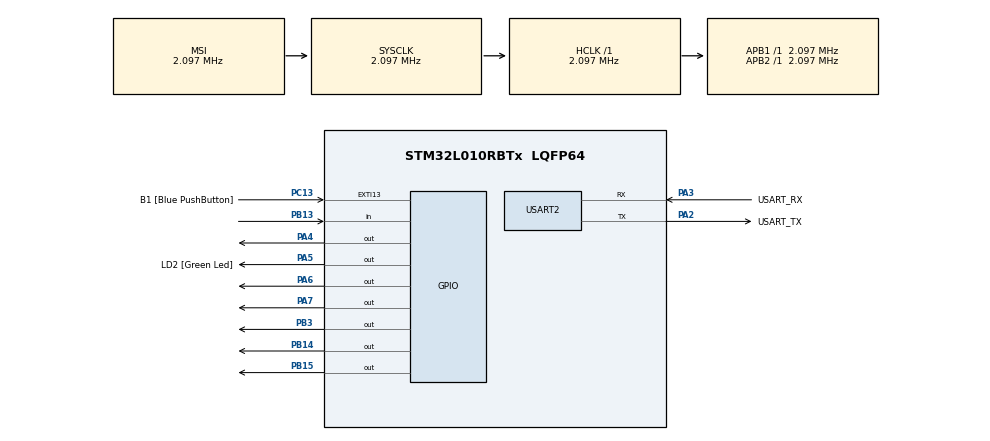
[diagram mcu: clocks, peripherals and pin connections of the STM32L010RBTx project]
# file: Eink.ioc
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Mcu.Family=STM32L0
RCC.MSI_VALUE=2097000
PC15-OSC32_OUT.Mode=LSE-External-Oscillator
PH0-OSC_IN.Signal=RCC_OSC_IN
PC13.Signal=GPXTI13
PA14.GPIO_Label=TCK
PC13.GPIO_Label=B1 [Blue PushButton]
PC14-OSC32_IN.Signal=RCC_OSC32_IN
PB13.Signal=GPIO_Input
PB15.Signal=GPIO_Output
PB3.GPIO_Speed=GPIO_SPEED_FREQ_MEDIUM
ProjectManager.StackSize=0x400
PA3.Mode=Asynchronous
PA13.Signal=SYS_SWDIO
RCC.HSI16_VALUE=16000000
ProjectManager.TargetToolchain=STM32CubeIDE
PB14.GPIO_Speed=GPIO_SPEED_FREQ_MEDIUM
RCC.APB2TimFreq_Value=2097000
PC15-OSC32_OUT.Signal=RCC_OSC32_OUT
RCC.AHBFreq_Value=2097000
PH0-OSC_IN.Mode=HSE-External-Clock-Source
PH0-OSC_IN.GPIO_Label=MCO
PB14.Signal=GPIO_Output
PA5.Signal=GPIO_Output
RCC.HSE_VALUE=8000000
board=NUCLEO-L010RB
USART2.VirtualMode-Asynchronous=VM_ASYNC
RCC.VCOOutputFreq_Value=48000000
PA4.GPIO_Speed=GPIO_SPEED_FREQ_MEDIUM
PA7.GPIO_Speed=GPIO_SPEED_FREQ_MEDIUM
PB13.GPIO_PuPd=GPIO_PULLUP
RCC.APB2Freq_Value=2097000
PC14-OSC32_IN.Mode=LSE-External-Oscillator
PA14.Mode=Serial_Wire
PB15.GPIO_Speed=GPIO_SPEED_FREQ_MEDIUM
PA13.Mode=Serial_Wire
Mcu.Name=STM32L010RBTx
PA2.Signal=USART2_TX
PA13.GPIO_Label=TMS
PB3.Signal=GPIO_Output
PA4.Signal=GPIO_Output
RCC.SYSCLKFreq_VALUE=2097000
Mcu.Package=LQFP64
PA6.Signal=GPIO_Output
PA5.GPIO_Label=LD2 [Green Led]
PC13.GPIO_ModeDefaultEXTI=GPIO_MODE_IT_FALLING
PA2.GPIO_Label=USART_TX
PA14.Signal=SYS_SWCLK
ProjectManager.HeapSize=0x200
RCC.HSI_VALUE=16000000
RCC.APB1TimFreq_Value=2097000
PA2.Mode=Asynchronous
PA6.GPIO_Speed=GPIO_SPEED_FREQ_MEDIUM
RCC.APB1Freq_Value=2097000
RCC.HSI48_VALUE=48000000
PA3.GPIO_Label=USART_RX
PA3.Signal=USART2_RX
PA7.Signal=GPIO_Output

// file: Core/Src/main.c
/* USER CODE BEGIN Header */
/**
  ******************************************************************************
  * @file           : main.c
  * @brief          : Main program body
  ******************************************************************************
  * @attention
  *
  * <h2><center>&copy; Copyright (c) 2021 STMicroelectronics.
  * All rights reserved.</center></h2>
  *
  * This software component is licensed by ST under BSD 3-Clause license,
  * the "License"; You may not use this file except in compliance with the
  * License. You may obtain a copy of the License at:
  *                        opensource.org/licenses/BSD-3-Clause
  *
  ******************************************************************************
  */
/* USER CODE END Header */
#include "main.h"

/* USER CODE BEGIN Includes */
//EPD
#include "Display_EPD_W21_spi.h"
#include "Display_EPD_W21.h"
#include "Ap_29demo.h"
//GUI
#include "GUI_Paint.h"
#include "fonts.h"
unsigned char BlackImage[2888]; //Define entire canvas space
/* USER CODE END Includes */

UART_HandleTypeDef huart2;

void SystemClock_Config(void);
static void MX_GPIO_Init(void);
static void MX_USART2_UART_Init(void);

int main(void)
{

  /* MCU Configuration--------------------------------------------------------*/

  /* Reset of all peripherals, Initializes the Flash interface and the Systick. */
  HAL_Init();

  /* Configure the system clock */
  SystemClock_Config();

  /* Initialize all configured peripherals */
  MX_GPIO_Init();
  MX_USART2_UART_Init();

  /* Infinite loop */
  while (1) {

    /* USER CODE BEGIN 3 */

      ///////////////////////////Normal picture display/////////////////////////////////////////////////////////////////
      /************Normal picture display*******************/
      EPD_init(); //EPD init
      PIC_display(gImage_1); //EPD_picture1
      EPD_sleep(); //EPD_sleep,Sleep instruction is necessary, please do not delete!!!
      HAL_Delay(2000); //2s

      //Clear
      EPD_init(); //EPD init
      PIC_display_Clear(); //EPD Clear
      EPD_sleep(); //EPD_sleep,Sleep instruction is necessary, please do not delete!!!
      HAL_Delay(2000); //2s

      ///////////////////////////GUI///////////////////////////////////////////////////////////////////////////////////
      //Data initialization settings
      Paint_NewImage(BlackImage, EPD_WIDTH, EPD_HEIGHT, 270, WHITE); //Set screen size and display orientation
      Paint_SelectImage(BlackImage); //Set the virtual canvas data storage location

      /**************Drawing**********************/
      EPD_init(); //EPD init
      Paint_Clear(WHITE);
      //Point
      Paint_DrawPoint(5, 10, BLACK, DOT_PIXEL_1X1, DOT_STYLE_DFT);
      Paint_DrawPoint(5, 25, BLACK, DOT_PIXEL_2X2, DOT_STYLE_DFT);
      Paint_DrawPoint(5, 40, BLACK, DOT_PIXEL_3X3, DOT_STYLE_DFT);
      Paint_DrawPoint(5, 55, BLACK, DOT_PIXEL_4X4, DOT_STYLE_DFT);
      //Line
      Paint_DrawLine(20, 10, 70, 60, BLACK, LINE_STYLE_SOLID, DOT_PIXEL_1X1);
      Paint_DrawLine(70, 10, 20, 60, BLACK, LINE_STYLE_SOLID, DOT_PIXEL_1X1);
      Paint_DrawLine(170, 15, 170, 55, BLACK, LINE_STYLE_DOTTED, DOT_PIXEL_1X1);
      Paint_DrawLine(150, 35, 190, 35, BLACK, LINE_STYLE_DOTTED, DOT_PIXEL_1X1);
      //Rectangle
      Paint_DrawRectangle(20, 10, 70, 60, BLACK, DRAW_FILL_EMPTY, DOT_PIXEL_1X1);
      Paint_DrawRectangle(85, 10, 130, 60, BLACK, DRAW_FILL_FULL, DOT_PIXEL_1X1);
      //Circle
      Paint_DrawCircle(30, 120, 25, BLACK, DRAW_FILL_EMPTY, DOT_PIXEL_1X1);
      Paint_DrawCircle(100, 120, 25, BLACK, DRAW_FILL_FULL, DOT_PIXEL_1X1);
      EPD_Display(BlackImage); //display image
      EPD_sleep(); //EPD_sleep,Sleep instruction is necessary, please do not delete!!!
      HAL_Delay(2000); //2s

      /***********String***************************/
      EPD_init(); //EPD init
      Paint_Clear(WHITE);
      Paint_DrawString_EN(0, 0, "Good Display", & Font8, WHITE, BLACK); //5*8
      Paint_DrawString_EN(0, 10, "Good Display", & Font12, WHITE, BLACK); //7*12
      Paint_DrawString_EN(0, 25, "Good Display", & Font16, WHITE, BLACK); //11*16
      Paint_DrawString_EN(0, 45, "Good Display", & Font20, WHITE, BLACK); //14*20
      Paint_DrawString_EN(0, 70, "Good Display", & Font24, WHITE, BLACK); //17*24
      EPD_Display(BlackImage); //display image
      EPD_sleep(); //EPD_sleep,Sleep instruction is necessary, please do not delete!!!
      HAL_Delay(2000); //2s
      /*************Number************************/
      EPD_init(); //EPD init
      Paint_Clear(WHITE);
      Paint_DrawNum(0, 0, 123456789, & Font8, WHITE, BLACK); //5*8
      Paint_DrawNum(0, 10, 123456789, & Font12, WHITE, BLACK); //7*12
      Paint_DrawNum(0, 25, 123456789, & Font16, WHITE, BLACK); //11*16
      Paint_DrawNum(0, 45, 123456789, & Font20, WHITE, BLACK); //14*20
      Paint_DrawNum(0, 70, 123456789, & Font24, WHITE, BLACK); //17*24
      EPD_Display(BlackImage); //display image
      EPD_sleep(); //EPD_sleep,Sleep instruction is necessary, please do not delete!!!
      HAL_Delay(2000); //2s

      //Clear
      EPD_init(); //EPD init
      PIC_display_Clear(); //EPD Clear
      EPD_sleep(); //EPD_sleep,Sleep instruction is necessary, please do not delete!!!
      HAL_Delay(2000); //2s
      while (1);
  }
  /* USER CODE END 3 */
}

void SystemClock_Config(void)
{
  RCC_OscInitTypeDef RCC_OscInitStruct = {0};
  RCC_ClkInitTypeDef RCC_ClkInitStruct = {0};
  RCC_PeriphCLKInitTypeDef PeriphClkInit = {0};

  /** Configure the main internal regulator output voltage
  */
  __HAL_PWR_VOLTAGESCALING_CONFIG(PWR_REGULATOR_VOLTAGE_SCALE1);
  /** Initializes the RCC Oscillators according to the specified parameters
  * in the RCC_OscInitTypeDef structure.
  */
  RCC_OscInitStruct.OscillatorType = RCC_OSCILLATORTYPE_MSI;
  RCC_OscInitStruct.MSIState = RCC_MSI_ON;
  RCC_OscInitStruct.MSICalibrationValue = 0;
  RCC_OscInitStruct.MSIClockRange = RCC_MSIRANGE_5;
  RCC_OscInitStruct.PLL.PLLState = RCC_PLL_NONE;
  if (HAL_RCC_OscConfig(&RCC_OscInitStruct) != HAL_OK)
  {
    Error_Handler();
  }
  /** Initializes the CPU, AHB and APB buses clocks
  */
  RCC_ClkInitStruct.ClockType = RCC_CLOCKTYPE_HCLK|RCC_CLOCKTYPE_SYSCLK
                              |RCC_CLOCKTYPE_PCLK1|RCC_CLOCKTYPE_PCLK2;
  RCC_ClkInitStruct.SYSCLKSource = RCC_SYSCLKSOURCE_MSI;
  RCC_ClkInitStruct.AHBCLKDivider = RCC_SYSCLK_DIV1;
  RCC_ClkInitStruct.APB1CLKDivider = RCC_HCLK_DIV1;
  RCC_ClkInitStruct.APB2CLKDivider = RCC_HCLK_DIV1;

  if (HAL_RCC_ClockConfig(&RCC_ClkInitStruct, FLASH_LATENCY_0) != HAL_OK)
  {
    Error_Handler();
  }
  PeriphClkInit.PeriphClockSelection = RCC_PERIPHCLK_USART2;
  PeriphClkInit.Usart2ClockSelection = RCC_USART2CLKSOURCE_PCLK1;
  if (HAL_RCCEx_PeriphCLKConfig(&PeriphClkInit) != HAL_OK)
  {
    Error_Handler();
  }
}

static void MX_USART2_UART_Init(void)
{

  huart2.Instance = USART2;
  huart2.Init.BaudRate = 115200;
  huart2.Init.WordLength = UART_WORDLENGTH_8B;
  huart2.Init.StopBits = UART_STOPBITS_1;
  huart2.Init.Parity = UART_PARITY_NONE;
  huart2.Init.Mode = UART_MODE_TX_RX;
  huart2.Init.HwFlowCtl = UART_HWCONTROL_NONE;
  huart2.Init.OverSampling = UART_OVERSAMPLING_16;
  huart2.Init.OneBitSampling = UART_ONE_BIT_SAMPLE_DISABLE;
  huart2.AdvancedInit.AdvFeatureInit = UART_ADVFEATURE_NO_INIT;
  if (HAL_UART_Init(&huart2) != HAL_OK)
  {
    Error_Handler();
  }

}

static void MX_GPIO_Init(void)
{
  GPIO_InitTypeDef GPIO_InitStruct = {0};

  /* GPIO Ports Clock Enable */
  __HAL_RCC_GPIOC_CLK_ENABLE();
  __HAL_RCC_GPIOH_CLK_ENABLE();
  __HAL_RCC_GPIOA_CLK_ENABLE();
  __HAL_RCC_GPIOB_CLK_ENABLE();

  /*Configure GPIO pin Output Level */
  HAL_GPIO_WritePin(GPIOA, GPIO_PIN_4|LD2_Pin|GPIO_PIN_6|GPIO_PIN_7, GPIO_PIN_RESET);

  /*Configure GPIO pin Output Level */
  HAL_GPIO_WritePin(GPIOB, GPIO_PIN_14|GPIO_PIN_15|GPIO_PIN_3, GPIO_PIN_RESET);

  /*Configure GPIO pin : B1_Pin */
  GPIO_InitStruct.Pin = B1_Pin;
  GPIO_InitStruct.Mode = GPIO_MODE_IT_FALLING;
  GPIO_InitStruct.Pull = GPIO_NOPULL;
  HAL_GPIO_Init(B1_GPIO_Port, &GPIO_InitStruct);

  /*Configure GPIO pins : PA4 PA6 PA7 */
  GPIO_InitStruct.Pin = GPIO_PIN_4|GPIO_PIN_6|GPIO_PIN_7;
  GPIO_InitStruct.Mode = GPIO_MODE_OUTPUT_PP;
  GPIO_InitStruct.Pull = GPIO_NOPULL;
  GPIO_InitStruct.Speed = GPIO_SPEED_FREQ_MEDIUM;
  HAL_GPIO_Init(GPIOA, &GPIO_InitStruct);

  /*Configure GPIO pin : LD2_Pin */
  GPIO_InitStruct.Pin = LD2_Pin;
  GPIO_InitStruct.Mode = GPIO_MODE_OUTPUT_PP;
  GPIO_InitStruct.Pull = GPIO_NOPULL;
  GPIO_InitStruct.Speed = GPIO_SPEED_FREQ_LOW;
  HAL_GPIO_Init(LD2_GPIO_Port, &GPIO_InitStruct);

  /*Configure GPIO pin : PB13 */
  GPIO_InitStruct.Pin = GPIO_PIN_13;
  GPIO_InitStruct.Mode = GPIO_MODE_INPUT;
  GPIO_InitStruct.Pull = GPIO_PULLUP;
  HAL_GPIO_Init(GPIOB, &GPIO_InitStruct);

  /*Configure GPIO pins : PB14 PB15 PB3 */
  GPIO_InitStruct.Pin = GPIO_PIN_14|GPIO_PIN_15|GPIO_PIN_3;
  GPIO_InitStruct.Mode = GPIO_MODE_OUTPUT_PP;
  GPIO_InitStruct.Pull = GPIO_NOPULL;
  GPIO_InitStruct.Speed = GPIO_SPEED_FREQ_MEDIUM;
  HAL_GPIO_Init(GPIOB, &GPIO_InitStruct);

}

void Error_Handler(void)
{
  __disable_irq();
  while (1)
  {
  }
}

/************************ (C) COPYRIGHT STMicroelectronics *****END OF FILE****/
